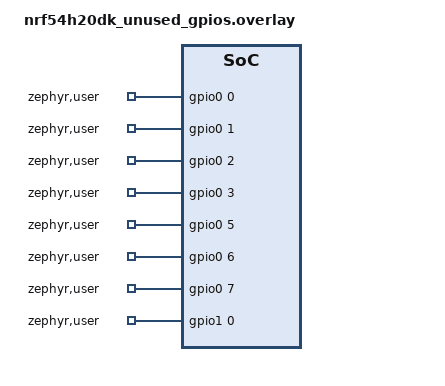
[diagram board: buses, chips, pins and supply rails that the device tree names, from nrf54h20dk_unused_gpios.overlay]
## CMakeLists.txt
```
#
# Copyright (c) 2024 Nordic Semiconductor ASA
#
# SPDX-License-Identifier: LicenseRef-Nordic-5-Clause
#

cmake_minimum_required(VERSION 3.20.0)
find_package(Zephyr REQUIRED HINTS $ENV{ZEPHYR_BASE})
project(periph_stress)

FILE(GLOB app_sources src/*.c)

zephyr_include_directories_ifdef(CONFIG_DT_HAS_SNPS_DWC2_ENABLED ${ZEPHYR_BASE}/samples/subsys/usb/common)
zephyr_sources_ifdef(CONFIG_DT_HAS_SNPS_DWC2_ENABLED ${ZEPHYR_BASE}/samples/subsys/usb/common/sample_usbd_init.c)

target_sources(app PRIVATE ${app_sources})
```

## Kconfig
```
source "$(ZEPHYR_BASE)/samples/subsys/usb/common/Kconfig.sample_usbd"

source "Kconfig.zephyr"
```

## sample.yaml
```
sample:
  name: Peripheral stress test

common:
  depends_on:
    - adc
    - gpio
    - i2c
    - spi
    - watchdog
  tags:
    - drivers
    - spi
    - sensors
    - ci_tests_benchmarks_peripheral_load
  harness: console

tests:
  sample.benchmarks.peripheral_stress_test.nrf54h:
    filter: not CONFIG_COVERAGE
    harness_config:
      fixture: pca63566
      type: multi_line
      ordered: false
      regex:
        - ".*Accelerometer thread has completed"
        - ".*ADC thread has completed"
        - ".*BME680 thread has completed"
        - ".*CAN thread has completed"
        - ".*Counter thread has completed"
        - ".*Flash thread has completed"
        - ".*GPIO thread has completed"
        - ".*I2S thread has completed"
        - ".*PWM thread has completed"
        - ".*TEMP thread has completed"
        - ".*Timer thread has completed"
        - ".*WDT thread has completed"
        - ".*CPU load thread has completed"
        - ".*Clock thread has completed"
        - ".*usb_thread: Baudrate 9600"
        - ".*Bluetooth init OK"
        - ".*all \\d{1,} threads have completed"
    extra_args:
      - SHIELD=pca63566
      - SB_CONFIG_NETCORE_IPC_RADIO=y
      - SB_CONFIG_NETCORE_IPC_RADIO_BT_HCI_IPC=y
      - ipc_radio_EXTRA_DTC_OVERLAY_FILE=${ZEPHYR_NRF_MODULE_DIR}/tests/benchmarks/peripheral_load/nrf54h20dk_unused_gpios.overlay
      # adding an extra overlay file to ipc_radio is intended to indirectly check whether peripfconf
      # is generated correctly (there are no conflicts between cpuapp and cpurad)
    platform_allow: nrf54h20dk/nrf54h20/cpuapp
    integration_platforms:
      - nrf54h20dk/nrf54h20/cpuapp

  sample.benchmarks.peripheral_stress_test.nrf54h.pm:
    filter: not CONFIG_COVERAGE
    harness_config:
      fixture: pca63566
      type: multi_line
      ordered: false
      regex:
        - ".*Accelerometer thread has completed"
        - ".*ADC thread has completed"
        - ".*BME680 thread has completed"
        - ".*CAN thread has completed"
        - ".*Counter thread has completed"
        - ".*Flash thread has completed"
        - ".*GPIO thread has completed"
        - ".*I2S thread has completed"
        - ".*PWM thread has completed"
        - ".*TEMP thread has completed"
        - ".*Timer thread has completed"
        - ".*WDT thread has completed"
        - ".*CPU load thread has completed"
        - ".*Clock thread has completed"
        - ".*usb_thread: Baudrate 9600"
        - ".*Bluetooth init OK"
        - ".*all \\d{1,} threads have completed"
    extra_args:
      - SHIELD=pca63566
      - SB_CONFIG_NETCORE_IPC_RADIO=y
      - SB_CONFIG_NETCORE_IPC_RADIO_BT_HCI_IPC=y
      - EXTRA_CONF_FILE=power_management.conf
    platform_allow: nrf54h20dk/nrf54h20/cpuapp
    integration_platforms:
      - nrf54h20dk/nrf54h20/cpuapp

  sample.benchmarks.peripheral_stress_test.nrf54h.mcuboot:
    filter: not CONFIG_COVERAGE
    harness_config:
      fixture: pca63566
      type: multi_line
      ordered: false
      regex:
        - ".*Accelerometer thread has completed"
        - ".*ADC thread has completed"
        - ".*BME680 thread has completed"
        - ".*CAN thread has completed"
        - ".*Counter thread has completed"
        - ".*Flash thread has completed"
        - ".*GPIO thread has completed"
        - ".*I2S thread has completed"
        - ".*PWM thread has completed"
        - ".*TEMP thread has completed"
        - ".*Timer thread has completed"
        - ".*WDT thread has completed"
        - ".*CPU load thread has completed"
        - ".*Clock thread has completed"
        - ".*usb_thread: Baudrate 9600"
        - ".*Bluetooth init OK"
        - ".*all \\d{1,} threads have completed"
    extra_args:
      - SHIELD=pca63566
      - SB_CONFIG_NETCORE_IPC_RADIO=y
      - SB_CONFIG_NETCORE_IPC_RADIO_BT_HCI_IPC=y
      - SB_CONFIG_BOOTLOADER_MCUBOOT=y
    platform_allow: nrf54h20dk/nrf54h20/cpuapp
    integration_platforms:
      - nrf54h20dk/nrf54h20/cpuapp

  sample.benchmarks.peripheral_stress_test.nrf54h.mcuboot.lto:
    filter: not CONFIG_COVERAGE
    harness_config:
      fixture: pca63566
      type: multi_line
      ordered: false
      regex:
        - ".*Accelerometer thread has completed"
        - ".*ADC thread has completed"
        - ".*BME680 thread has completed"
        - ".*CAN thread has completed"
        - ".*Counter thread has completed"
        - ".*Flash thread has completed"
        - ".*GPIO thread has completed"
        - ".*I2S thread has completed"
        - ".*PWM thread has completed"
        - ".*TEMP thread has completed"
        - ".*Timer thread has completed"
        - ".*WDT thread has completed"
        - ".*CPU load thread has completed"
        - ".*Clock thread has completed"
        - ".*usb_thread: Baudrate 9600"
        - ".*Bluetooth init OK"
        - ".*all \\d{1,} threads have completed"
    extra_args:
      - SHIELD=pca63566
      - SB_CONFIG_NETCORE_IPC_RADIO=y
      - SB_CONFIG_NETCORE_IPC_RADIO_BT_HCI_IPC=y
      - SB_CONFIG_BOOTLOADER_MCUBOOT=y
      - CONFIG_LTO=y
      - CONFIG_ISR_TABLES_LOCAL_DECLARATION=y
    platform_allow: nrf54h20dk/nrf54h20/cpuapp
    integration_platforms:
      - nrf54h20dk/nrf54h20/cpuapp

  sample.benchmarks.peripheral_stress_test.nrf54l05_10:
    filter: not CONFIG_COVERAGE
    harness_config:
      type: multi_line
      ordered: false
      regex:
        - ".*ADC thread has completed"
        - ".*Counter thread has completed"
        - ".*Flash thread has completed"
        - ".*GPIO thread has completed"
        - ".*I2S thread has completed"
        - ".*PWM thread has completed"
        - ".*TEMP thread has completed"
        - ".*Timer thread has completed"
        - ".*WDT thread has completed"
        - ".*CPU load thread has completed"
        - ".*Bluetooth init OK"
        - ".*all \\d{1,} threads have completed"
    extra_args:
      - CONFIG_CAN=n
    platform_allow:
      - nrf54l15dk/nrf54l05/cpuapp
      - nrf54l15dk/nrf54l10/cpuapp
    integration_platforms:
      - nrf54l15dk/nrf54l10/cpuapp

  sample.benchmarks.peripheral_stress_test.nrf54l15:
    filter: not CONFIG_COVERAGE
    harness_config:
      fixture: pca63565
      type: multi_line
      ordered: false
      regex:
        - ".*Accelerometer thread has completed"
        - ".*ADC thread has completed"
        - ".*BME680 thread has completed"
        - ".*Counter thread has completed"
        - ".*Flash thread has completed"
        - ".*GPIO thread has completed"
        - ".*I2S thread has completed"
        - ".*PWM thread has completed"
        - ".*TEMP thread has completed"
        - ".*Timer thread has completed"
        - ".*WDT thread has completed"
        - ".*CPU load thread has completed"
        - ".*Bluetooth init OK"
        - ".*all \\d{1,} threads have completed"
    extra_args:
      - SHIELD=pca63565
      - CONFIG_CAN=n
    platform_allow: nrf54l15dk/nrf54l15/cpuapp
    integration_platforms:
      - nrf54l15dk/nrf54l15/cpuapp

  sample.benchmarks.peripheral_stress_test.nrf54l15.mcuboot:
    filter: not CONFIG_COVERAGE
    harness_config:
      fixture: pca63565
      type: multi_line
      ordered: false
      regex:
        - ".*Accelerometer thread has completed"
        - ".*ADC thread has completed"
        - ".*BME680 thread has completed"
        - ".*Counter thread has completed"
        - ".*Flash thread has completed"
        - ".*GPIO thread has completed"
        - ".*I2S thread has completed"
        - ".*PWM thread has completed"
        - ".*TEMP thread has completed"
        - ".*Timer thread has completed"
        - ".*WDT thread has completed"
        - ".*CPU load thread has completed"
        - ".*Bluetooth init OK"
        - ".*all \\d{1,} threads have completed"
    extra_args:
      - SHIELD=pca63565
      - CONFIG_CAN=n
      - SB_CONFIG_BOOTLOADER_MCUBOOT=y
      # FPROTECT does not affect benchmarks
      - mcuboot_CONFIG_FPROTECT=n
    platform_allow: nrf54l15dk/nrf54l15/cpuapp
    integration_platforms:
      - nrf54l15dk/nrf54l15/cpuapp

  sample.benchmarks.peripheral_stress_test.nrf54l15.mcuboot.lto:
    filter: not CONFIG_COVERAGE
    harness_config:
      fixture: pca63565
      type: multi_line
      ordered: false
      regex:
        - ".*Accelerometer thread has completed"
        - ".*ADC thread has completed"
        - ".*BME680 thread has completed"
        - ".*Counter thread has completed"
        - ".*Flash thread has completed"
        - ".*GPIO thread has completed"
        - ".*I2S thread has completed"
        - ".*PWM thread has completed"
        - ".*TEMP thread has completed"
        - ".*Timer thread has completed"
        - ".*WDT thread has completed"
        - ".*CPU load thread has completed"
        - ".*Bluetooth init OK"
        - ".*all \\d{1,} threads have completed"
    extra_args:
      - SHIELD=pca63565
      - CONFIG_CAN=n
      - SB_CONFIG_BOOTLOADER_MCUBOOT=y
      # FPROTECT does not affect benchmarks
      - mcuboot_CONFIG_FPROTECT=n
      - CONFIG_LTO=y
      - CONFIG_ISR_TABLES_LOCAL_DECLARATION=y
    platform_allow: nrf54l15dk/nrf54l15/cpuapp
    integration_platforms:
      - nrf54l15dk/nrf54l15/cpuapp

  sample.benchmarks.peripheral_stress_test.nrf54lm20:
    filter: not CONFIG_COVERAGE
    harness_config:
      fixture: pca63565
      type: multi_line
      ordered: false
      regex:
        - ".*Accelerometer thread has completed"
        - ".*ADC thread has completed"
        - ".*BME680 thread has completed"
        - ".*Counter thread has completed"
        - ".*Flash thread has completed"
        - ".*GPIO thread has completed"
        - ".*I2S thread has completed"
        - ".*PWM thread has completed"
        - ".*TEMP thread has completed"
        - ".*Timer thread has completed"
        - ".*WDT thread has completed"
        - ".*CPU load thread has completed"
        - ".*usb_thread: Baudrate 9600"
        - ".*Bluetooth init OK"
        - ".*all \\d{1,} threads have completed"
    extra_args:
      - SHIELD=pca63565
      - CONFIG_CAN=n
    platform_allow:
      - nrf54lm20dk/nrf54lm20a/cpuapp
      - nrf54lm20dk/nrf54lm20b/cpuapp
    integration_platforms:
      - nrf54lm20dk/nrf54lm20b/cpuapp

  sample.benchmarks.peripheral_stress_test.nrf54lm20.mcuboot:
    filter: not CONFIG_COVERAGE
    harness_config:
      fixture: pca63565
      type: multi_line
      ordered: false
      regex:
        - ".*Accelerometer thread has completed"
        - ".*ADC thread has completed"
        - ".*BME680 thread has completed"
        - ".*Counter thread has completed"
        - ".*Flash thread has completed"
        - ".*GPIO thread has completed"
        - ".*I2S thread has completed"
        - ".*PWM thread has completed"
        - ".*TEMP thread has completed"
        - ".*Timer thread has completed"
        - ".*WDT thread has completed"
        - ".*CPU load thread has completed"
        - ".*usb_thread: Baudrate 9600"
        - ".*Bluetooth init OK"
        - ".*all \\d{1,} threads have completed"
    extra_args:
      - SHIELD=pca63565
      - CONFIG_CAN=n
      - SB_CONFIG_BOOTLOADER_MCUBOOT=y
      # Disabled FPROTECT does not affect benchmarks
      - mcuboot_CONFIG_FPROTECT=n
    platform_allow:
      - nrf54lm20dk/nrf54lm20a/cpuapp
      - nrf54lm20dk/nrf54lm20b/cpuapp
    integration_platforms:
      - nrf54lm20dk/nrf54lm20b/cpuapp

  sample.benchmarks.peripheral_stress_test.nrf54lm20.mcuboot.lto:
    filter: not CONFIG_COVERAGE
    harness_config:
      fixture: pca63565
      type: multi_line
      ordered: false
      regex:
        - ".*Accelerometer thread has completed"
        - ".*ADC thread has completed"
        - ".*BME680 thread has completed"
        - ".*Counter thread has completed"
        - ".*Flash thread has completed"
        - ".*GPIO thread has completed"
        - ".*I2S thread has completed"
        - ".*PWM thread has completed"
        - ".*TEMP thread has completed"
        - ".*Timer thread has completed"
        - ".*WDT thread has completed"
        - ".*CPU load thread has completed"
        - ".*usb_thread: Baudrate 9600"
        - ".*Bluetooth init OK"
        - ".*all \\d{1,} threads have completed"
    extra_args:
      - SHIELD=pca63565
      - CONFIG_CAN=n
      - SB_CONFIG_BOOTLOADER_MCUBOOT=y
      # Disabled FPROTECT does not affect benchmarks
      - mcuboot_CONFIG_FPROTECT=n
      - CONFIG_LTO=y
      - CONFIG_ISR_TABLES_LOCAL_DECLARATION=y
    platform_allow:
      - nrf54lm20dk/nrf54lm20a/cpuapp
      - nrf54lm20dk/nrf54lm20b/cpuapp
    integration_platforms:
      - nrf54lm20dk/nrf54lm20b/cpuapp

  sample.benchmarks.peripheral_stress_test.nrf54ls05:
    filter: not CONFIG_COVERAGE
    harness_config:
      type: multi_line
      ordered: false
      regex:
        - ".*ADC thread has completed"
        - ".*Counter thread has completed"
        - ".*GPIO thread has completed"
        - ".*PWM thread has completed"
        - ".*TEMP thread has completed"
        - ".*Timer thread has completed"
        - ".*WDT thread has completed"
        - ".*CPU load thread has completed"
        - ".*all \\d{1,} threads have completed"
    extra_args:
      - CONFIG_CAN=n
      - CONFIG_FLASH=n
      - CONFIG_I2S=n
      - CONFIG_BT=n
    platform_allow:
      - nrf54ls05dk/nrf54ls05a/cpuapp
      - nrf54ls05dk/nrf54ls05b/cpuapp
    integration_platforms:
      - nrf54ls05dk/nrf54ls05b/cpuapp

  sample.benchmarks.peripheral_stress_test.nrf54ls05.mcuboot:
    filter: not CONFIG_COVERAGE
    harness_config:
      type: multi_line
      ordered: false
      regex:
        - ".*ADC thread has completed"
        - ".*Counter thread has completed"
        - ".*GPIO thread has completed"
        - ".*PWM thread has completed"
        - ".*TEMP thread has completed"
        - ".*Timer thread has completed"
        - ".*WDT thread has completed"
        - ".*CPU load thread has completed"
        - ".*all \\d{1,} threads have completed"
    extra_args:
      - CONFIG_CAN=n
      - CONFIG_FLASH=n
      - CONFIG_I2S=n
      - CONFIG_BT=n
      - SB_CONFIG_BOOTLOADER_MCUBOOT=y
      # Disabled FPROTECT does not affect benchmarks
      - mcuboot_CONFIG_FPROTECT=n
    platform_allow:
      - nrf54ls05dk/nrf54ls05b/cpuapp
    integration_platforms:
      - nrf54ls05dk/nrf54ls05b/cpuapp

  sample.benchmarks.peripheral_stress_test.nrf54ls05.mcuboot.lto:
    filter: not CONFIG_COVERAGE
    harness_config:
      type: multi_line
      ordered: false
      regex:
        - ".*ADC thread has completed"
        - ".*Counter thread has completed"
        - ".*GPIO thread has completed"
        - ".*PWM thread has completed"
        - ".*TEMP thread has completed"
        - ".*Timer thread has completed"
        - ".*WDT thread has completed"
        - ".*CPU load thread has completed"
        - ".*all \\d{1,} threads have completed"
    extra_args:
      - CONFIG_CAN=n
      - CONFIG_FLASH=n
      - CONFIG_I2S=n
      - CONFIG_BT=n
      - SB_CONFIG_BOOTLOADER_MCUBOOT=y
      # Disabled FPROTECT does not affect benchmarks
      - mcuboot_CONFIG_FPROTECT=n
      - CONFIG_LTO=y
      - CONFIG_ISR_TABLES_LOCAL_DECLARATION=y
    platform_allow:
      - nrf54ls05dk/nrf54ls05b/cpuapp
    integration_platforms:
      - nrf54ls05dk/nrf54ls05b/cpuapp

  sample.benchmarks.peripheral_stress_test.nrf54lv10_lc10:
    filter: not CONFIG_COVERAGE
    harness_config:
      type: multi_line
      ordered: false
      regex:
        - ".*ADC thread has completed"
        - ".*Counter thread has completed"
        - ".*GPIO thread has completed"
        - ".*TEMP thread has completed"
        - ".*Timer thread has completed"
        - ".*WDT thread has completed"
        - ".*CPU load thread has completed"
        - ".*Bluetooth init OK"
        - ".*all \\d{1,} threads have completed"
    extra_args:
      - CONFIG_CAN=n
      - CONFIG_FLASH=n
      - CONFIG_I2S=n
      - CONFIG_PWM=n
    platform_allow:
      - nrf54lv10dk/nrf54lv10a/cpuapp
      - nrf54lc10dk/nrf54lc10a/cpuapp
    integration_platforms:
      - nrf54lv10dk/nrf54lv10a/cpuapp

  sample.benchmarks.peripheral_stress_test.nrf54lv10_lc10.mcuboot:
    filter: not CONFIG_COVERAGE
    harness_config:
      type: multi_line
      ordered: false
      regex:
        - ".*ADC thread has completed"
        - ".*Counter thread has completed"
        - ".*GPIO thread has completed"
        - ".*TEMP thread has completed"
        - ".*Timer thread has completed"
        - ".*WDT thread has completed"
        - ".*CPU load thread has completed"
        - ".*Bluetooth init OK"
        - ".*all \\d{1,} threads have completed"
    extra_args:
      - CONFIG_CAN=n
      - CONFIG_FLASH=n
      - CONFIG_I2S=n
      - CONFIG_PWM=n
      - SB_CONFIG_BOOTLOADER_MCUBOOT=y
      # Disabled FPROTECT does not affect benchmarks
      - mcuboot_CONFIG_FPROTECT=n
    platform_allow:
      - nrf54lv10dk/nrf54lv10a/cpuapp
      - nrf54lc10dk/nrf54lc10a/cpuapp
    integration_platforms:
      - nrf54lv10dk/nrf54lv10a/cpuapp

  sample.benchmarks.peripheral_stress_test.nrf54lv10_lc10.mcuboot.lto:
    filter: not CONFIG_COVERAGE
    harness_config:
      type: multi_line
      ordered: false
      regex:
        - ".*ADC thread has completed"
        - ".*Counter thread has completed"
        - ".*GPIO thread has completed"
        - ".*TEMP thread has completed"
        - ".*Timer thread has completed"
        - ".*WDT thread has completed"
        - ".*CPU load thread has completed"
        - ".*Bluetooth init OK"
        - ".*all \\d{1,} threads have completed"
    extra_args:
      - CONFIG_CAN=n
      - CONFIG_FLASH=n
      - CONFIG_I2S=n
      - CONFIG_PWM=n
      - SB_CONFIG_BOOTLOADER_MCUBOOT=y
      # Disabled FPROTECT does not affect benchmarks
      - mcuboot_CONFIG_FPROTECT=n
      - CONFIG_LTO=y
      - CONFIG_ISR_TABLES_LOCAL_DECLARATION=y
    platform_allow:
      - nrf54lv10dk/nrf54lv10a/cpuapp
      - nrf54lc10dk/nrf54lc10a/cpuapp
    integration_platforms:
      - nrf54lv10dk/nrf54lv10a/cpuapp
```

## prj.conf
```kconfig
CONFIG_LOG=y

CONFIG_SENSOR=y
CONFIG_ADC=y
CONFIG_CAN=y
CONFIG_COUNTER=y
CONFIG_FLASH=y
CONFIG_GPIO=y
CONFIG_I2S=y
CONFIG_PWM=y
CONFIG_WATCHDOG=y
CONFIG_BT=y
CONFIG_BT_DEVICE_NAME="Test beacon"
CONFIG_ASSERT=y
```

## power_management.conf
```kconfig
CONFIG_PM=y
CONFIG_PM_S2RAM=y
CONFIG_PM_DEVICE=y
CONFIG_PM_DEVICE_RUNTIME=y
CONFIG_POWEROFF=y
```

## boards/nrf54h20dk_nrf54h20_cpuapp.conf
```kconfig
CONFIG_CLOCK_CONTROL=y

CONFIG_USB_DEVICE_STACK_NEXT=y

CONFIG_STDOUT_CONSOLE=y
CONFIG_SERIAL=y
CONFIG_UART_LINE_CTRL=y
CONFIG_USBD_CDC_ACM_CLASS=y

CONFIG_USBD_LOG_LEVEL_WRN=y
CONFIG_UDC_DRIVER_LOG_LEVEL_WRN=y
CONFIG_USBD_CDC_ACM_LOG_LEVEL_ERR=y

CONFIG_SAMPLE_USBD_PID=0x0001
CONFIG_SAMPLE_USBD_PRODUCT="USBD CDC ACM sample"

CONFIG_SOC_NRF54H20_CPURAD_ENABLE=y
```

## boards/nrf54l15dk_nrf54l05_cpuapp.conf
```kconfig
CONFIG_BT_CTLR_TX_PWR_PLUS_8=y
```

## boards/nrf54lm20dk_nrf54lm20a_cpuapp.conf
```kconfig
CONFIG_USB_DEVICE_STACK_NEXT=y

CONFIG_STDOUT_CONSOLE=y
CONFIG_SERIAL=y
CONFIG_UART_LINE_CTRL=y
CONFIG_USBD_CDC_ACM_CLASS=y

CONFIG_USBD_LOG_LEVEL_WRN=y
CONFIG_UDC_DRIVER_LOG_LEVEL_WRN=y
CONFIG_USBD_CDC_ACM_LOG_LEVEL_ERR=y

CONFIG_SAMPLE_USBD_PID=0x0001
CONFIG_SAMPLE_USBD_PRODUCT="USBD CDC ACM sample"

CONFIG_BT_CTLR_TX_PWR_PLUS_8=y
```

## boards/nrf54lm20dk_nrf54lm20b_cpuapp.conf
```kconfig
CONFIG_BT_CTLR_TX_PWR_PLUS_8=y

CONFIG_USB_DEVICE_STACK_NEXT=y

CONFIG_STDOUT_CONSOLE=y
CONFIG_SERIAL=y
CONFIG_UART_LINE_CTRL=y
CONFIG_USBD_CDC_ACM_CLASS=y

CONFIG_USBD_LOG_LEVEL_WRN=y
CONFIG_UDC_DRIVER_LOG_LEVEL_WRN=y
CONFIG_USBD_CDC_ACM_LOG_LEVEL_ERR=y

CONFIG_SAMPLE_USBD_PID=0x0001
CONFIG_SAMPLE_USBD_PRODUCT="USBD CDC ACM sample"

CONFIG_BT_CTLR_TX_PWR_PLUS_8=y
```

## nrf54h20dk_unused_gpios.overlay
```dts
/*
 * Copyright (c) 2026 Nordic Semiconductor ASA
 *
 * SPDX-License-Identifier: LicenseRef-Nordic-5-Clause
 */

/ {
	zephyr,user {
		gpios = <&gpio0 0 GPIO_ACTIVE_HIGH>, <&gpio0 1 GPIO_ACTIVE_HIGH>,
			<&gpio0 2 GPIO_ACTIVE_HIGH>, <&gpio0 3 GPIO_ACTIVE_HIGH>,
			<&gpio0 5 GPIO_ACTIVE_HIGH>, <&gpio0 6 GPIO_ACTIVE_HIGH>,
			<&gpio0 7 GPIO_ACTIVE_HIGH>,
			<&gpio1 0 GPIO_ACTIVE_HIGH>, <&gpio1 3 GPIO_ACTIVE_HIGH>,
			<&gpio1 7 GPIO_ACTIVE_HIGH>, <&gpio1 9 GPIO_ACTIVE_HIGH>,
			<&gpio1 10 GPIO_ACTIVE_HIGH>, <&gpio1 11 GPIO_ACTIVE_HIGH>,
			<&gpio2 0 GPIO_ACTIVE_HIGH>, <&gpio2 2 GPIO_ACTIVE_HIGH>,
			<&gpio6 1 GPIO_ACTIVE_HIGH>,
			<&gpio7 0 GPIO_ACTIVE_HIGH>, <&gpio7 1 GPIO_ACTIVE_HIGH>,
			<&gpio7 2 GPIO_ACTIVE_HIGH>, <&gpio7 3 GPIO_ACTIVE_HIGH>,
			<&gpio7 4 GPIO_ACTIVE_HIGH>, <&gpio7 5 GPIO_ACTIVE_HIGH>,
			<&gpio7 6 GPIO_ACTIVE_HIGH>, <&gpio7 7 GPIO_ACTIVE_HIGH>;
	};
};

&gpio0 {
	status = "okay";
};

&gpio1 {
	status = "okay";
};

&gpio2 {
	status = "okay";
};

&gpio6 {
	status = "okay";
};

&gpio7 {
	status = "okay";
};

&gpio9 {
	status = "okay";
};

&gpiote130 {
	status = "okay";
};
```

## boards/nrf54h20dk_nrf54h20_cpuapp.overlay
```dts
/*
 * Copyright (c) 2024 Nordic Semiconductor ASA
 *
 * SPDX-License-Identifier: LicenseRef-Nordic-5-Clause
 */

/ {
	aliases {
		i2s-node0 = &tdm130;
		test-counter = &timer137;
		watchdog0 = &wdt010;
	};

	zephyr,user {
		io-channels = <&adc 0>, <&adc 1>;
	};
};

&pinctrl {
	tdm130_default_alt: tdm130_default_alt {
		group1 {
			psels = <NRF_PSEL(TDM_SCK_M, 2, 1)>,
				<NRF_PSEL(TDM_FSYNC_M, 2, 11)>,
				<NRF_PSEL(TDM_SDOUT, 2, 9)>,
				<NRF_PSEL(TDM_SDIN, 2, 10)>;
		};
	};
};

&adc {
	#address-cells = <1>;
	#size-cells = <0>;

	channel@0 {
		reg = <0>;
		zephyr,gain = "ADC_GAIN_1_2";
		zephyr,reference = "ADC_REF_INTERNAL";
		zephyr,acquisition-time = <ADC_ACQ_TIME(ADC_ACQ_TIME_MICROSECONDS, 10)>;
		zephyr,input-positive = <NRF_SAADC_AIN4>;
		zephyr,resolution = <10>;
	};

	channel@1 {
		reg = <1>;
		zephyr,gain = "ADC_GAIN_2";
		zephyr,reference = "ADC_REF_EXTERNAL0";
		zephyr,acquisition-time = <ADC_ACQ_TIME(ADC_ACQ_TIME_MICROSECONDS, 10)>;
		zephyr,input-positive = <NRF_SAADC_AIN5>;
		zephyr,resolution = <10>;
	};
};

&gpio6 {
	status = "okay";
	zephyr,pm-device-runtime-auto;
};

&exmif {
	status = "okay";
	zephyr,pm-device-runtime-auto;
};

&mx25uw63 {
	status = "okay";
};

&tdm130 {
	status = "okay";
	pinctrl-0 = <&tdm130_default_alt>;
	pinctrl-names = "default";
	memory-regions = <&cpuapp_dma_region>;
};

&timer137 {
	status = "okay";
	prescaler = <4>;
};

temp_sensor: &temp_nrfs {
	status = "okay";
};

&wdt010 {
	status = "okay";
};

&zephyr_udc0 {
	cdc_acm_uart0 {
		compatible = "zephyr,cdc-acm-uart";
	};
};

&fll16m {
	status = "okay";
};

&lfclk {
	status = "okay";
};
```

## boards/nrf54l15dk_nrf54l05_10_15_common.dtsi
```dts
/*
 * Copyright (c) 2025 Nordic Semiconductor ASA
 *
 * SPDX-License-Identifier: LicenseRef-Nordic-5-Clause
 */

/ {
	aliases {
		i2s-node0 = &i2s20;
		test-counter = &timer24;
	};

	zephyr,user {
		io-channels = <&adc 0>, <&adc 1>;
	};
};

&pinctrl {
	i2s20_default_alt: i2s20_default_alt {
		group1 {
			psels = <NRF_PSEL(I2S_SCK_M, 1, 14)>,
				<NRF_PSEL(I2S_LRCK_M, 1, 10)>,
				<NRF_PSEL(I2S_SDOUT, 1, 8)>,
				<NRF_PSEL(I2S_SDIN, 1, 9)>;
		};
	};
};

&adc {
	#address-cells = <1>;
	#size-cells = <0>;

	channel@0 {
		reg = <0>;
		zephyr,gain = "ADC_GAIN_1";
		zephyr,reference = "ADC_REF_INTERNAL";
		zephyr,acquisition-time = <ADC_ACQ_TIME(ADC_ACQ_TIME_MICROSECONDS, 10)>;
		zephyr,input-positive = <NRF_SAADC_AIN4>; /* P1.11 - I2C SCL on sensor shield */
		zephyr,resolution = <10>;
	};

	channel@1 {
		reg = <1>;
		zephyr,gain = "ADC_GAIN_1_4";
		zephyr,reference = "ADC_REF_INTERNAL";
		zephyr,acquisition-time = <ADC_ACQ_TIME_DEFAULT>;
		zephyr,input-positive = <NRF_SAADC_AIN5>; /* P1.12 - I2C SDA on sensor shield */
		zephyr,resolution = <12>;
	};
};

&i2s20 {
	status = "okay";
	pinctrl-0 = <&i2s20_default_alt>;
	pinctrl-names = "default";
};

&timer24 {
	status = "okay";
	prescaler = <4>;
};

temp_sensor: &temp {
	status = "okay";
};

&wdt31 {
	status = "okay";
};
```

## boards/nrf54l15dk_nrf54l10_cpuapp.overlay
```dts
/*
 * Copyright (c) 2025 Nordic Semiconductor ASA
 *
 * SPDX-License-Identifier: LicenseRef-Nordic-5-Clause
 */

#include "nrf54l15dk_nrf54l05_10_15_common.dtsi"
```

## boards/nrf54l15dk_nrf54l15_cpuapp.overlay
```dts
/*
 * Copyright (c) 2024 Nordic Semiconductor ASA
 *
 * SPDX-License-Identifier: LicenseRef-Nordic-5-Clause
 */

/* Rev. 0.8.1:
 * P0.00 - TX_0
 * P0.01 - RX_0
 * P0.02 - RTS_0
 * P0.03 - CTS_0
 * P0.04 - Button_3
 *
 * P1.00 - 32k_XTAL1
 * P1.01 - 32k_XTAL2
 * P1.02 - NFC_1
 * P1.03 - NFC_2
 * P1.04 - TX_1
 * P1.05 - RX_1
 * P1.06 - RTS_1
 * P1.07 - CTS_1
 * P1.08 - Button_1 / I2S_SDOUT
 * P1.09 - Button_2 / I2S_SDIN
 * P1.10 - LED_1 / I2S_LRCK_M
 * P1.11 - TWIM_SCL to BME680 + ADC_ch0
 * P1.12 - TWIM_SDA to BME680 + ADC_ch1
 * P1.13 - Button_4 / CS_BME680
 * P1.14 - LED_3 / IRQ / I2S_SCK_M
 *
 * P2.00 - QSPI
 * P2.01 - QSPI
 * P2.02 - QSPI
 * P2.03 - QSPI
 * P2.04 - QSPI
 * P2.05 - QSPI
 * P2.06 - SPIM_SCK
 * P2.07 - LED_2
 * P2.08 - SPIM_MOSI to ADXL362
 * P2.09 - LED_0 / SPIM_MISO to ADXL362
 * P2.10 - CS_ADXL362
 */

#include "nrf54l15dk_nrf54l05_10_15_common.dtsi"
```

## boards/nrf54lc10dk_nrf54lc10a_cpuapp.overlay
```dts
/*
 * Copyright (c) 2026 Nordic Semiconductor ASA
 *
 * SPDX-License-Identifier: LicenseRef-Nordic-5-Clause
 */

/ {
	aliases {
		led2 = &led2;
		test-counter = &timer24;
	};

	zephyr,user {
		io-channels = <&adc 0>, <&adc 1>;
	};
};

&adc {
	status = "okay";
	#address-cells = <1>;
	#size-cells = <0>;

	channel@0 {
		reg = <0>;
		zephyr,gain = "ADC_GAIN_1";
		zephyr,reference = "ADC_REF_INTERNAL";
		zephyr,acquisition-time = <ADC_ACQ_TIME(ADC_ACQ_TIME_MICROSECONDS, 10)>;
		zephyr,input-positive = <NRF_SAADC_AIN4>; /* P1.07 */
		zephyr,resolution = <10>;
	};

	channel@1 {
		reg = <1>;
		zephyr,gain = "ADC_GAIN_1";
		zephyr,reference = "ADC_REF_INTERNAL";
		zephyr,acquisition-time = <ADC_ACQ_TIME_DEFAULT>;
		zephyr,input-positive = <NRF_SAADC_AIN5>; /* P1.05 */
		zephyr,resolution = <12>;
	};
};

&timer24 {
	status = "okay";
	prescaler = <4>;
};

temp_sensor: &temp {
	status = "okay";
};

&wdt31 {
	status = "okay";
};
```

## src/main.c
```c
/*
 * Copyright (c) 2024 Nordic Semiconductor ASA
 *
 * SPDX-License-Identifier: LicenseRef-Nordic-5-Clause
 */

#include <zephyr/logging/log.h>
LOG_MODULE_REGISTER(main, LOG_LEVEL_INF);

#include <zephyr/kernel.h>
#include <zephyr/device.h>
#include "common.h"

/* Thread status */
atomic_t started_threads;
atomic_t completed_threads;

/* Watchdog status: */
extern volatile uint32_t wdt_status;

/* Main thread */
int main(void)
{
	/* Check status of flag that is set when watchdog fires */
	if (wdt_status == WDT_TAG) {
		LOG_INF("Starting after Watchdog has expired");
	} else {
		LOG_INF("That wasn't Watchdog");
	}
	wdt_status = 0U;

	/* Wait for threads to complete */
	while (atomic_get(&started_threads) < 1) {
		LOG_DBG("%ld threads were started", atomic_get(&started_threads));
		k_msleep(500);
	}
	while (atomic_get(&completed_threads) < atomic_get(&started_threads)) {
		LOG_DBG("%ld threads were started, %ld has completed",
			atomic_get(&started_threads), atomic_get(&completed_threads));
		k_msleep(500);
	}
	LOG_INF("main: all %ld threads have completed", atomic_get(&completed_threads));
}
```

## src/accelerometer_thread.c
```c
/*
 * Copyright (c) 2024 Nordic Semiconductor ASA
 *
 * SPDX-License-Identifier: LicenseRef-Nordic-5-Clause
 */

#include <zephyr/logging/log.h>
LOG_MODULE_REGISTER(accel, LOG_LEVEL_INF);

#include <zephyr/drivers/sensor.h>
#include "common.h"

static const struct device *const accelerometer = DEVICE_DT_GET(DT_ALIAS(accel0));

/* Accelerometer thread */
static void accel_thread(void *arg1, void *arg2, void *arg3)
{
	ARG_UNUSED(arg1);
	ARG_UNUSED(arg2);
	ARG_UNUSED(arg3);

	int ret;
	struct sensor_value samples[3];
	double latest[3];
	double average[3] = {0.0};

	atomic_inc(&started_threads);

	if (!device_is_ready(accelerometer)) {
		LOG_ERR("Device %s is not ready.", accelerometer->name);
		atomic_inc(&completed_threads);
		return;
	}

	for (int i = 0; i < (ACCEL_THREAD_COUNT_MAX * ACCEL_THREAD_OVERSAMPLING); i++) {
		/* Capture acceleration value */
		ret = sensor_sample_fetch(accelerometer);
		if (ret < 0) {
			LOG_ERR("%s: sensor_sample_fetch() returned: %d", accelerometer->name, ret);
			atomic_inc(&completed_threads);
			return;
		}

		/* Retrieve samples */
		ret = sensor_channel_get(accelerometer, SENSOR_CHAN_ACCEL_XYZ, samples);
		if (ret < 0) {
			LOG_ERR("%s: sensor_channel_get() returned: %d", accelerometer->name, ret);
			atomic_inc(&completed_threads);
			return;
		}

		/* Calculate average */
		for (int axis = 0; axis < 3; axis++) {
			latest[axis] = sensor_value_to_double(&samples[axis]);
			average[axis] = (average[axis] + latest[axis]) / 2;
		}

		/* Print result */
		if ((i % ACCEL_THREAD_OVERSAMPLING) == 0) {
			LOG_INF("%10s - X: %6.2f; Y: %6.2f; Z: %6.2f",
				accelerometer->name, average[0], average[1], average[2]);
		}

		k_msleep(ACCEL_THREAD_SLEEP / ACCEL_THREAD_OVERSAMPLING);
	}
	LOG_INF("Accelerometer thread has completed");

	atomic_inc(&completed_threads);
}

K_THREAD_DEFINE(thread_accel_id, ACCEL_THREAD_STACKSIZE, accel_thread, NULL, NULL, NULL,
	K_PRIO_PREEMPT(ACCEL_THREAD_PRIORITY), 0, 0);
```

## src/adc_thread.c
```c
/*
 * Copyright (c) 2024 Nordic Semiconductor ASA
 *
 * SPDX-License-Identifier: LicenseRef-Nordic-5-Clause
 */

#include <zephyr/logging/log.h>
LOG_MODULE_REGISTER(adc, LOG_LEVEL_INF);

#include <zephyr/drivers/adc.h>
#include "common.h"

#if !DT_NODE_EXISTS(DT_PATH(zephyr_user)) || \
	!DT_NODE_HAS_PROP(DT_PATH(zephyr_user), io_channels)
#error "No suitable devicetree overlay specified"
#endif

#define DT_SPEC_AND_COMMA(node_id, prop, idx)	ADC_DT_SPEC_GET_BY_IDX(node_id, idx),

/* Data of ADC io-channels specified in devicetree. */
static const struct adc_dt_spec adc_channels[] = {
	DT_FOREACH_PROP_ELEM(DT_PATH(zephyr_user), io_channels, DT_SPEC_AND_COMMA)
};

/* Get the number of channels defined on the DTS. */
#define CHANNEL_COUNT ARRAY_SIZE(adc_channels)

/* ADC thread */
static void adc_thread(void *arg1, void *arg2, void *arg3)
{
	ARG_UNUSED(arg1);
	ARG_UNUSED(arg2);
	ARG_UNUSED(arg3);

	int ret;
	uint16_t buf;
	struct adc_sequence sequence = {
		.buffer = &buf,
		/* buffer size in bytes, not number of samples */
		.buffer_size = sizeof(buf),
	};
	uint16_t average[CHANNEL_COUNT] = { 0 };
	int32_t average_mv[CHANNEL_COUNT];

	atomic_inc(&started_threads);

	/* Configure channels individually prior to sampling. */
	for (size_t i = 0U; i < CHANNEL_COUNT; i++) {
		if (!adc_is_ready_dt(&adc_channels[i])) {
			LOG_ERR("ADC controller devivce %s is not ready",
				adc_channels[i].dev->name);
			atomic_inc(&completed_threads);
			return;
		}

		ret = adc_channel_setup_dt(&adc_channels[i]);
		if (ret < 0) {
			LOG_ERR("Could not setup channel #%d (%d)", i, ret);
			atomic_inc(&completed_threads);
			return;
		}
	}

	for (int i = 0; i < (ADC_THREAD_COUNT_MAX * ADC_THREAD_OVERSAMPLING); i++) {
		/* For each ADC channel */
		for (size_t i = 0U; i < CHANNEL_COUNT; i++) {

			/* Read ADC channel */
			ret = adc_sequence_init_dt(&adc_channels[i], &sequence);
			if (ret < 0) {
				LOG_ERR("adc_sequence_init_dt(%d) failed (%d)", i, ret);
				atomic_inc(&completed_threads);
				return;
			}

			ret = adc_read_dt(&adc_channels[i], &sequence);
			if (ret < 0) {
				LOG_ERR("adc_read_dt(%d) failed (%d)", i, ret);
				atomic_inc(&completed_threads);
				return;
			}

			/* Calculate running average */
			average[i] = (average[i] + buf) >> 1;
			average_mv[i] = average[i];

			ret = adc_raw_to_millivolts_dt(&adc_channels[i], &average_mv[i]);
			if (ret < 0) {
				LOG_ERR("adc_raw_to_millivolts_dt(%d) failed (%d)", i, ret);
				atomic_inc(&completed_threads);
				return;
			}
		}

		/* Print result */
		if ((i % ADC_THREAD_OVERSAMPLING) == 0) {
			LOG_INF("CH0 = %d (%d mv), CH1 = %d (%d mv)",
				average[0], average_mv[0], average[1], average_mv[1]);
		}

		k_msleep(ADC_THREAD_SLEEP / ADC_THREAD_OVERSAMPLING);
	}
	LOG_INF("ADC thread has completed");

	atomic_inc(&completed_threads);
}

K_THREAD_DEFINE(thread_adc_id, ADC_THREAD_STACKSIZE, adc_thread, NULL, NULL, NULL,
	K_PRIO_PREEMPT(ADC_THREAD_PRIORITY), 0, 0);
```

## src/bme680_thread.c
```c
/*
 * Copyright (c) 2024 Nordic Semiconductor ASA
 *
 * SPDX-License-Identifier: LicenseRef-Nordic-5-Clause
 */

#include <zephyr/logging/log.h>
LOG_MODULE_REGISTER(be680, LOG_LEVEL_INF);

#include <zephyr/drivers/sensor.h>
#include "common.h"

static const struct device *const bme680 = DEVICE_DT_GET_ONE(bosch_bme680);

/* BME680 thread */
static void bme680_thread(void *arg1, void *arg2, void *arg3)
{
	ARG_UNUSED(arg1);
	ARG_UNUSED(arg2);
	ARG_UNUSED(arg3);

	int ret;
	struct sensor_value samples[4]; /* 0-temp, 1-press, 2-humidity, 3-gas_res*/
	int32_t latest_val1[4];
	int32_t latest_val2[4];
	int32_t average_val1[4] = {0};
	int32_t average_val2[4] = {0};

	atomic_inc(&started_threads);

	if (!device_is_ready(bme680)) {
		LOG_ERR("Device %s is not ready.", bme680->name);
		atomic_inc(&completed_threads);
		return;
	}

	for (int i = 0; i < (BME680_THREAD_COUNT_MAX * BME680_THREAD_OVERSAMPLING); i++) {
		/* Capture samples */
		ret = sensor_sample_fetch(bme680);
		if (ret < 0) {
			LOG_ERR("%s: sensor_sample_fetch() returned: %d", bme680->name, ret);
			atomic_inc(&completed_threads);
			return;
		}

		/* Retrieve samples */
		sensor_channel_get(bme680, SENSOR_CHAN_AMBIENT_TEMP, &samples[0]);
		if (ret < 0) {
			LOG_ERR("%s: sensor_channel_get(TEMP) returned: %d", bme680->name, ret);
			atomic_inc(&completed_threads);
			return;
		}
		sensor_channel_get(bme680, SENSOR_CHAN_PRESS, &samples[1]);
		if (ret < 0) {
			LOG_ERR("%s: sensor_channel_get(PRESS) returned: %d", bme680->name, ret);
			atomic_inc(&completed_threads);
			return;
		}
		sensor_channel_get(bme680, SENSOR_CHAN_HUMIDITY, &samples[2]);
		if (ret < 0) {
			LOG_ERR("%s: sensor_channel_get(HUMIDITY) returned: %d", bme680->name, ret);
			atomic_inc(&completed_threads);
			return;
		}
		sensor_channel_get(bme680, SENSOR_CHAN_GAS_RES, &samples[3]);
		if (ret < 0) {
			LOG_ERR("%s: sensor_channel_get(GAS_RES) returned: %d", bme680->name, ret);
			atomic_inc(&completed_threads);
			return;
		}

		/* Calculate average */
		for (int property = 0; property < 4; property++) {
			latest_val1[property] = samples[property].val1;
			latest_val2[property] = samples[property].val2;
			average_val1[property] =
				(average_val1[property] + latest_val1[property]) / 2;
			average_val2[property] =
				(average_val2[property] + latest_val2[property]) / 2;
		}

		if ((i % BME680_THREAD_OVERSAMPLING) == 0) {
			/* Print result */
			LOG_INF("%10s - T: %d.%06d; P: %d.%06d; H: %d.%06d; G: %d.%06d",
				bme680->name,
				average_val1[0], average_val2[0], average_val1[1], average_val2[1],
				average_val1[2], average_val2[2], average_val1[3], average_val2[3]);
		}

		k_msleep(BME680_THREAD_SLEEP / BME680_THREAD_OVERSAMPLING);
	}
	LOG_INF("BME680 thread has completed");

	atomic_inc(&completed_threads);
}

K_THREAD_DEFINE(thread_bme680_id, BME680_THREAD_STACKSIZE, bme680_thread, NULL, NULL, NULL,
	K_PRIO_PREEMPT(BME680_THREAD_PRIORITY), 0, 0);
```

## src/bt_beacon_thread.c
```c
/*
 * Copyright (c) 2025 Nordic Semiconductor ASA
 *
 * SPDX-License-Identifier: LicenseRef-Nordic-5-Clause
 */

#include "common.h"

#if DT_NODE_HAS_STATUS(DT_CHOSEN(zephyr_bt_hci), okay) && defined(CONFIG_BT)
#include <zephyr/types.h>
#include <stddef.h>
#include <zephyr/sys/printk.h>
#include <zephyr/sys/util.h>
#include <zephyr/logging/log.h>
#include <zephyr/bluetooth/bluetooth.h>
#include <zephyr/bluetooth/hci.h>

LOG_MODULE_REGISTER(bt_thread, LOG_LEVEL_INF);

#define DEVICE_NAME CONFIG_BT_DEVICE_NAME
#define DEVICE_NAME_LEN (sizeof(DEVICE_NAME) - 1)

/*
 * Set Advertisement data. Based on the Eddystone specification:
 * https://github.com/google/eddystone/blob/master/protocol-specification.md
 * https://github.com/google/eddystone/tree/master/eddystone-url
 */
static const struct bt_data ad[] = {
	BT_DATA_BYTES(BT_DATA_FLAGS, BT_LE_AD_NO_BREDR),
	BT_DATA_BYTES(BT_DATA_UUID16_ALL, 0xaa, 0xfe),
	BT_DATA_BYTES(BT_DATA_SVC_DATA16,
		      0xaa, 0xfe, /* Eddystone UUID */
		      0x10, /* Eddystone-URL frame type */
		      0x00, /* Calibrated Tx power at 0m */
		      0x00, /* URL Scheme Prefix http://www. */
		      'z', 'e', 'p', 'h', 'y', 'r',
		      'p', 'r', 'o', 'j', 'e', 'c', 't',
		      0x08) /* .org */
};

/* Set Scan Response data */
static const struct bt_data sd[] = {
	BT_DATA(BT_DATA_NAME_COMPLETE, DEVICE_NAME, DEVICE_NAME_LEN),
};

static void bt_ready(int err)
{
	char addr_s[BT_ADDR_LE_STR_LEN];
	bt_addr_le_t addr = {0};
	size_t count = 1;

	if (err) {
		LOG_ERR("Bluetooth init failed (err %d)", err);
		return;
	}

	LOG_INF("Bluetooth initialized\n");

	/* Start advertising */
	err = bt_le_adv_start(BT_LE_ADV_NCONN_IDENTITY, ad, ARRAY_SIZE(ad),
			      sd, ARRAY_SIZE(sd));
	if (err) {
		LOG_ERR("Advertising failed to start (err %d)", err);
		return;
	}


	/* For connectable advertising you would use
	 * bt_le_oob_get_local().  For non-connectable non-identity
	 * advertising an non-resolvable private address is used;
	 * there is no API to retrieve that.
	 */

	bt_id_get(&addr, &count);
	bt_addr_le_to_str(&addr, addr_s, sizeof(addr_s));

	LOG_INF("Beacon started, advertising as %s", addr_s);
}

/* BT thread */
static void bt_thread(void *arg1, void *arg2, void *arg3)
{
	ARG_UNUSED(arg1);
	ARG_UNUSED(arg2);
	ARG_UNUSED(arg3);

	LOG_INF("Starting BT beacon");
	atomic_inc(&started_threads);

	/* Initialize the Bluetooth Subsystem */
	if (bt_enable(bt_ready)) {
		LOG_ERR("Bluetooth init failed");
	} else {
		LOG_INF("Bluetooth init OK");
	}

	atomic_inc(&completed_threads);
}

K_THREAD_DEFINE(thread_bt_id, BT_THREAD_STACKSIZE, bt_thread, NULL, NULL, NULL,
	K_PRIO_PREEMPT(BT_THREAD_PRIORITY), 0, 0);

#else
#pragma message(                                                                                   \
	"Bluetooth thread skipped due to missing 'bt_hci_sdc' node in the DTS or CONFIG_BT=n")
#endif
```

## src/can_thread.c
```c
/*
 * Copyright (c) 2024 Nordic Semiconductor ASA
 *
 * SPDX-License-Identifier: LicenseRef-Nordic-5-Clause
 */

#include "common.h"

#if DT_NODE_HAS_STATUS(DT_CHOSEN(zephyr_canbus), okay)
#include <zephyr/drivers/can.h>

#include <zephyr/logging/log.h>
LOG_MODULE_REGISTER(can, LOG_LEVEL_INF);

static const struct device *const can_dev = DEVICE_DT_GET(DT_CHOSEN(zephyr_canbus));
static int rx_counter;

const struct can_frame test_std_frame = {
	.flags   = 0,
	.id      = 0x555,
	.dlc     = 8,
	.data    = {1, 2, 3, 4, 5, 6, 7, 8}
};

const struct can_filter test_std_filter = {
	.flags = 0U,
	.id = 0x555,
	.mask = CAN_STD_ID_MASK
};

void tx_callback(const struct device *dev, int error, void *user_data)
{
	char *sender = (char *)user_data;

	if (error != 0) {
		LOG_ERR("Sending failed [%d]\nSender: %s", error, sender);
	}
}

void rx_callback(const struct device *dev, struct can_frame *frame, void *user_data)
{
	rx_counter++;
	LOG_INF("Received CAN frame (# %d)", rx_counter);
}

/* CAN thread */
static void can_thread(void *arg1, void *arg2, void *arg3)
{
	ARG_UNUSED(arg1);
	ARG_UNUSED(arg2);
	ARG_UNUSED(arg3);

	int ret;

	atomic_inc(&started_threads);

	if (!device_is_ready(can_dev)) {
		LOG_ERR("Device %s is not ready.", can_dev->name);
		atomic_inc(&completed_threads);
		return;
	}

	/* failsafe */
	(void)can_stop(can_dev);

	/* set loopback mode */
	ret = can_set_mode(can_dev, CAN_MODE_LOOPBACK);
	if (ret < 0) {
		LOG_ERR("can_set_mode() returned %d", ret);
		atomic_inc(&completed_threads);
		return;
	}

	ret = can_start(can_dev);
	if (ret < 0) {
		LOG_ERR("can_start() returned %d", ret);
		atomic_inc(&completed_threads);
		return;
	}

	/* Configure CAN RX filter */
	ret = can_add_rx_filter(can_dev, rx_callback, NULL, &test_std_filter);
	if (ret < 0) {
		LOG_ERR("can_add_rx_filter() returned %d", ret);
		atomic_inc(&completed_threads);
		return;
	}

	while (rx_counter < CAN_THREAD_COUNT_MAX) {
		/* Send CAN message */
		ret = can_send(can_dev, &test_std_frame, K_FOREVER, tx_callback, "CAN thread");
		if (ret < 0) {
			LOG_ERR("can_send() returned: %d", ret);
			atomic_inc(&completed_threads);
			return;
		}

		k_msleep(CAN_THREAD_SLEEP);
	}

	ret = can_stop(can_dev);
	if (ret < 0) {
		LOG_ERR("can_stop() returned %d", ret);
		atomic_inc(&completed_threads);
		return;
	}

	LOG_INF("CAN thread has completed");

	atomic_inc(&completed_threads);
}

K_THREAD_DEFINE(thread_can_id, CAN_THREAD_STACKSIZE, can_thread, NULL, NULL, NULL,
	K_PRIO_PREEMPT(CAN_THREAD_PRIORITY), 0, 0);

#else
#pragma message("CAN thread skipped due to missing node in the DTS")
#endif
```

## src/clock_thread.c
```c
/*
 * Copyright (c) 2024 Nordic Semiconductor ASA
 *
 * SPDX-License-Identifier: LicenseRef-Nordic-5-Clause
 */
#ifdef CONFIG_HAS_NORDIC_MULTI_OPTION_CLOCKS
#include "common.h"

#include <zephyr/logging/log.h>
LOG_MODULE_REGISTER(clock, LOG_LEVEL_INF);

#include <zephyr/devicetree.h>
#include <zephyr/devicetree/clocks.h>
#include <zephyr/drivers/clock_control/nrf_clock_control.h>
#include <zephyr/kernel.h>

struct test_clk_context {
	const struct device *clk_dev;
	const struct nrf_clock_spec *clk_specs;
	size_t clk_specs_size;
};

const struct nrf_clock_spec test_clk_specs_hsfll[] = {
	{
		.frequency = MHZ(128),
		.accuracy = 0,
		.precision = NRF_CLOCK_CONTROL_PRECISION_DEFAULT,
	},
	{
		.frequency = MHZ(320),
		.accuracy = 0,
		.precision = NRF_CLOCK_CONTROL_PRECISION_DEFAULT,
	},
	{
		.frequency = MHZ(64),
		.accuracy = 0,
		.precision = NRF_CLOCK_CONTROL_PRECISION_DEFAULT,
	},
};

const struct nrf_clock_spec test_clk_specs_fll16m[] = {
	{
		.frequency = MHZ(16),
		.accuracy = 20000,
		.precision = NRF_CLOCK_CONTROL_PRECISION_DEFAULT,
	},
	{
		.frequency = MHZ(16),
		.accuracy = 5020,
		.precision = NRF_CLOCK_CONTROL_PRECISION_DEFAULT,
	},
	{
		.frequency = MHZ(16),
		.accuracy = 30,
		.precision = NRF_CLOCK_CONTROL_PRECISION_DEFAULT,
	},
};

static const struct test_clk_context fll16m_test_clk_contexts[] = {
	{
		.clk_dev = DEVICE_DT_GET(DT_NODELABEL(fll16m)),
		.clk_specs = test_clk_specs_fll16m,
		.clk_specs_size = ARRAY_SIZE(test_clk_specs_fll16m),
	},
};

static const struct test_clk_context cpuapp_hsfll_test_clk_contexts[] = {
	{
		.clk_dev = DEVICE_DT_GET(DT_NODELABEL(cpuapp_hsfll)),
		.clk_specs = test_clk_specs_hsfll,
		.clk_specs_size = ARRAY_SIZE(test_clk_specs_hsfll),
	},
};

const struct nrf_clock_spec test_clk_specs_lfclk[] = {
	{
		.frequency = 32768,
		.accuracy = 0,
		.precision = NRF_CLOCK_CONTROL_PRECISION_DEFAULT,
	},
	{
		.frequency = 32768,
		.accuracy = 20,
		.precision = NRF_CLOCK_CONTROL_PRECISION_DEFAULT,
	},
	{
		.frequency = 32768,
		.accuracy = 20,
		.precision = NRF_CLOCK_CONTROL_PRECISION_HIGH,
	},
};

static const struct test_clk_context lfclk_test_clk_contexts[] = {
	{
		.clk_dev = DEVICE_DT_GET(DT_NODELABEL(lfclk)),
		.clk_specs = test_clk_specs_lfclk,
		.clk_specs_size = ARRAY_SIZE(test_clk_specs_lfclk),
	},
};

static void test_request_release_clock_spec(const struct device *clk_dev,
					    const struct nrf_clock_spec *clk_spec)
{
	int ret = 0;
	int res = 0;
	struct onoff_client cli;
	uint32_t rate;
	bool rate_supported = true;

	LOG_INF("Clock under test: %s", clk_dev->name);
	sys_notify_init_spinwait(&cli.notify);
	ret = nrf_clock_control_request(clk_dev, clk_spec, &cli);
	LOG_INF("Clock control request return value: %d", ret);
	if (ret != 0) {
		LOG_ERR("Clock control request failed");
		atomic_inc(&completed_threads);
		return;
	}
	do {
		ret = sys_notify_fetch_result(&cli.notify, &res);
		k_yield();
	} while (ret == -EAGAIN);
	LOG_INF("Clock control request response code: %d", res);
	if (res != 0) {
		LOG_ERR("Wrong clock control request response code");
		atomic_inc(&completed_threads);
		return;
	}
	ret = clock_control_get_rate(clk_dev, NULL, &rate);
	LOG_INF("Clock control get rate response code: %d", ret);
	if (ret == -ENOSYS) {
		LOG_INF("Clock control get rate not supported");
		rate_supported = false;
	} else if (ret != 0) {
		LOG_ERR("Clock control get rate failed");
		atomic_inc(&completed_threads);
		return;
	}
	if (rate_supported && rate != clk_spec->frequency) {
		LOG_ERR("Invalid rate: %d", rate);
		atomic_inc(&completed_threads);
		return;
	}
	k_msleep(1000);
	ret = nrf_clock_control_release(clk_dev, clk_spec);
	if (ret != ONOFF_STATE_ON) {
		LOG_ERR("Clock control release failed");
		atomic_inc(&completed_threads);
		return;
	}
}

static void test_clock_control_request(const struct test_clk_context *clk_contexts,
				       size_t contexts_size)
{
	const struct test_clk_context *clk_context;
	size_t clk_specs_size;
	const struct device *clk_dev;
	const struct nrf_clock_spec *clk_spec;

	for (size_t i = 0; i < contexts_size; i++) {
		clk_context = &clk_contexts[i];
		clk_specs_size = clk_context->clk_specs_size;

		for (size_t u = 0; u < clk_specs_size; u++) {
			clk_dev = clk_context->clk_dev;
			clk_spec = &clk_context->clk_specs[u];

			LOG_INF("Applying clock (%s) spec: frequency %d, accuracy %d, precision "
				"%d",
				clk_dev->name, clk_spec->frequency, clk_spec->accuracy,
				clk_spec->precision);
			test_request_release_clock_spec(clk_dev, clk_spec);
		}
	}
}

/* Clock thread */
static void clock_thread(void *arg1, void *arg2, void *arg3)
{
	ARG_UNUSED(arg1);
	ARG_UNUSED(arg2);
	ARG_UNUSED(arg3);

	atomic_inc(&started_threads);

	k_msleep(100);
	test_clock_control_request(cpuapp_hsfll_test_clk_contexts,
				   ARRAY_SIZE(cpuapp_hsfll_test_clk_contexts));

	test_clock_control_request(fll16m_test_clk_contexts, ARRAY_SIZE(fll16m_test_clk_contexts));

	test_clock_control_request(lfclk_test_clk_contexts, ARRAY_SIZE(lfclk_test_clk_contexts));

	LOG_INF("Clock thread has completed");

	atomic_inc(&completed_threads);
}

K_THREAD_DEFINE(thread_clock_id, CLOCK_THREAD_STACKSIZE, clock_thread, NULL, NULL, NULL,
		K_PRIO_PREEMPT(CLOCK_THREAD_PRIORITY), 0, 0);

#else
#pragma message("Clock thread skipped - feature is not supported on this platform")
#endif
```

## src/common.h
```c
/*
 * Copyright (c) 2024 Nordic Semiconductor ASA
 *
 * SPDX-License-Identifier: LicenseRef-Nordic-5-Clause
 */

#ifndef PERIPHERAL_STRESS_TEST_H
#define PERIPHERAL_STRESS_TEST_H

#include <zephyr/kernel.h>
#include <zephyr/device.h>

/* Thread status */
extern atomic_t started_threads;
extern atomic_t completed_threads;

/* Accelerator readout via SPI: */
#define ACCEL_THREAD_COUNT_MAX		(40)
#define ACCEL_THREAD_OVERSAMPLING	(3)
#define ACCEL_THREAD_STACKSIZE		(1024)
#define ACCEL_THREAD_PRIORITY		(5)
#define ACCEL_THREAD_SLEEP			(200)

/* ADC thread: */
#define ADC_THREAD_COUNT_MAX	(40)
#define ADC_THREAD_OVERSAMPLING (3)
#define ADC_THREAD_STACKSIZE	(1024)
#define ADC_THREAD_PRIORITY		(5)
#define ADC_THREAD_SLEEP		(200)

/* BME680 environment sensor readout via I2C: */
#define BME680_THREAD_COUNT_MAX		(40)
#define BME680_THREAD_OVERSAMPLING	(2)
#define BME680_THREAD_STACKSIZE		(1024)
#define BME680_THREAD_PRIORITY		(5)
#define BME680_THREAD_SLEEP			(200)

/* CAN thread: */
#define CAN_THREAD_COUNT_MAX	(40)
#define CAN_THREAD_STACKSIZE	(1024)
#define CAN_THREAD_PRIORITY		(5)
#define CAN_THREAD_SLEEP		(200)

/* Counter thread: */
#define COUNTER_THREAD_COUNT_MAX	(40)
#define COUNTER_THREAD_STACKSIZE	(512)
#define COUNTER_THREAD_PRIORITY		(5)
#define COUNTER_THREAD_PERIOD		(200)

/* FLASH thread: */
#define FLASH_THREAD_COUNT_MAX	(40)
#define FLASH_THREAD_STACKSIZE	(2048)
#define FLASH_THREAD_PRIORITY	(5)
#define FLASH_THREAD_SLEEP		(200)

/* GPIO thread: */
#define GPIO_THREAD_COUNT_MAX	(40)
#define GPIO_THREAD_STACKSIZE	(512)
#define GPIO_THREAD_PRIORITY	(5)
#define GPIO_THREAD_SLEEP		(200)

/* I2S thread: */
#define I2S_THREAD_COUNT_MAX	(40)
#define I2S_THREAD_STACKSIZE	(1024)
#define I2S_THREAD_PRIORITY		(5)
#define I2S_THREAD_SLEEP		(200)

/* PWM thread: */
#define PWM_THREAD_COUNT_MAX	(40)
#define PWM_THREAD_OVERSAMPLING	(10)
#define PWM_THREAD_STACKSIZE	(512)
#define PWM_THREAD_PRIORITY		(5)
#define PWM_THREAD_SLEEP		(200)

/* TEMP thread: */
#define TEMP_THREAD_COUNT_MAX	(40)
#define TEMP_THREAD_STACKSIZE	(512)
#define TEMP_THREAD_PRIORITY	(5)
#define TEMP_THREAD_PERIOD		(200)

/* Timer thread: */
#define TIMER_THREAD_COUNT_MAX	(40)
#define TIMER_THREAD_STACKSIZE	(512)
#define TIMER_THREAD_PRIORITY	(5)
#define TIMER_THREAD_PERIOD		(200)

/* Watchdog thread: */
#define WDT_THREAD_COUNT_MAX	(40)
#define WDT_THREAD_STACKSIZE	(512)
#define WDT_THREAD_PRIORITY		(4)
#define WDT_THREAD_PERIOD		(200)
#define WDT_WINDOW_MAX			(2 * WDT_THREAD_PERIOD)
#define WDT_TAG					(0x12345678U)

/* Clock thread: */
#define CLOCK_THREAD_STACKSIZE	(512)
#define CLOCK_THREAD_PRIORITY	(4)

/* Busy load thread: */
#define LOAD_THREAD_STACKSIZE	(1024)
#define LOAD_THREAD_PRIORITY	(CONFIG_NUM_PREEMPT_PRIORITIES - 1)
#define LOAD_THREAD_DURATION	(ACCEL_THREAD_SLEEP * (ACCEL_THREAD_COUNT_MAX + 2))

/* USB thread */
#define USB_THREAD_COUNT_MAX	(40)
#define USB_THREAD_STACKSIZE	(1024)
#define USB_THREAD_PRIORITY	    (5)
#define USB_THREAD_SLEEP		(200)

/* BT thread */
#define BT_THREAD_COUNT_MAX	(40)
#define BT_THREAD_STACKSIZE	(1024)
#define BT_THREAD_PRIORITY	(5)
#define BT_THREAD_SLEEP		(200)

#endif
```

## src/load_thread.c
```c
/*
 * Copyright (c) 2024 Nordic Semiconductor ASA
 *
 * SPDX-License-Identifier: LicenseRef-Nordic-5-Clause
 */

#include <zephyr/logging/log.h>
LOG_MODULE_REGISTER(load, LOG_LEVEL_INF);

#include "common.h"

static struct k_timer load_timer;
static atomic_t load_active;

void load_timer_handler(struct k_timer *dummy)
{
	atomic_set(&load_active, 0);
}

/* CPU load thread */
static void load_thread(void *arg1, void *arg2, void *arg3)
{
	ARG_UNUSED(arg1);
	ARG_UNUSED(arg2);
	ARG_UNUSED(arg3);

	atomic_inc(&started_threads);

	atomic_set(&load_active, 1);

	k_timer_init(&load_timer, load_timer_handler, NULL);

	/* start a one-shot timer that expires after LOAD_THREAD_DURATION */
	k_timer_start(&load_timer, K_MSEC(LOAD_THREAD_DURATION), K_FOREVER);

	while (atomic_get(&load_active) == 1) {
		k_busy_wait(1000);
		k_yield();
	}

	LOG_INF("CPU load thread has completed");

	atomic_inc(&completed_threads);
}

K_THREAD_DEFINE(thread_load_id, LOAD_THREAD_STACKSIZE, load_thread, NULL, NULL, NULL,
	K_PRIO_PREEMPT(LOAD_THREAD_PRIORITY), 0, 0);
```
